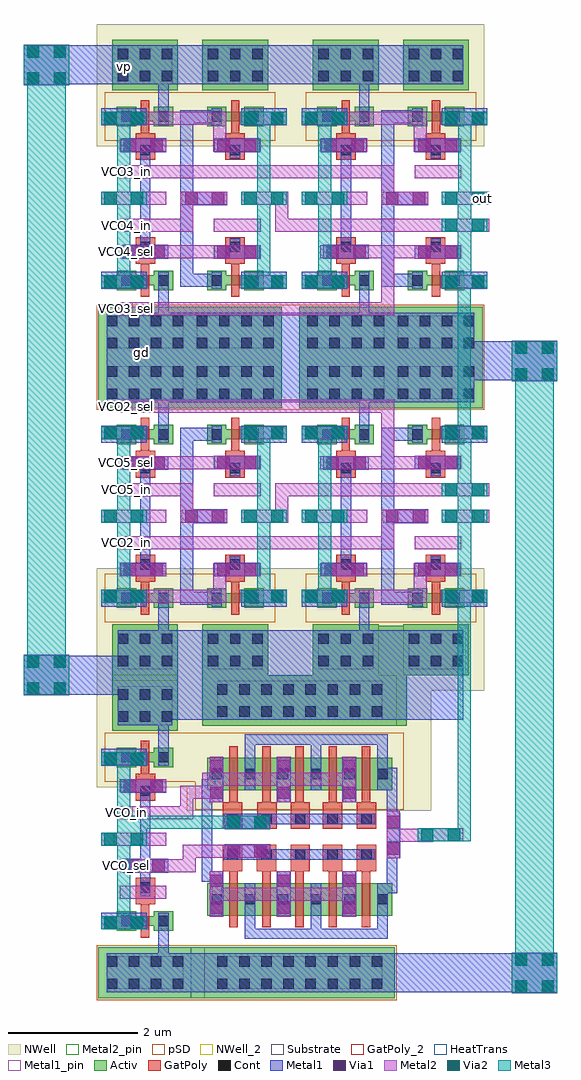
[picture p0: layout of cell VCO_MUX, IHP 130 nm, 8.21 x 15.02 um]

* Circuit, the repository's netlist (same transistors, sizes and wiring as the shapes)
** sch_path: /foss/designs/CHIP-PLL/schematics/divider/schematics/VCO_MUX.sch
.subckt VCO_MUX gd VP VCO_in VCO2_in VCO3_in VCO4_in VCO5_in VCO_sel VCO2_sel VCO3_sel VCO4_sel VCO5_sel out
*.PININFO gd:B VP:B VCO2_in:I VCO3_in:I VCO4_in:I VCO5_in:I out:O VCO_in:I VCO2_sel:I VCO3_sel:I VCO_sel:I VCO4_sel:I VCO5_sel:I
x2 VCO_sel net1 VP gd inverter_dek
x3 net2 VP gd VCO2_sel VCO2_in out passgate_scaled
x4 VCO2_sel net2 VP gd inverter_dek
x5 net3 VP gd VCO3_sel VCO3_in out passgate_scaled
x6 VCO3_sel net3 VP gd inverter_dek
x7 net4 VP gd VCO4_sel VCO4_in out passgate_scaled
x8 VCO4_sel net4 VP gd inverter_dek
x9 net5 VP gd VCO5_sel VCO5_in out passgate_scaled
x10 VCO5_sel net5 VP gd inverter_dek
x1 net1 VP gd VCO_sel VCO_in out vco_passgate_mux
.ends

* expanding   symbol:  inverter_dek.sym # of pins=4
** sym_path: /foss/designs/CHIP-PLL/schematics/divider/schematics/inverter_dek.sym
** sch_path: /foss/designs/CHIP-PLL/schematics/divider/schematics/inverter_dek.sch
.subckt inverter_dek IN OUT VP GND
*.PININFO IN:I VP:B OUT:O GND:B
MM1 OUT IN GND GND sg13_lv_nmos w=0.15u l=0.13u ng=1
MM2 OUT IN VP VP sg13_lv_pmos w=0.15u l=0.13u ng=1
.ends


* expanding   symbol:  passgate_scaled.sym # of pins=6
** sym_path: /foss/designs/CHIP-PLL/schematics/divider/schematics/passgate_scaled.sym
** sch_path: /foss/designs/CHIP-PLL/schematics/divider/schematics/passgate_scaled.sch
.subckt passgate_scaled en_ VP GND en IO OI
*.PININFO OI:B IO:B VP:B GND:B en_:I en:I
MM1 IO en OI GND sg13_lv_nmos w=0.15u l=0.13u ng=1
MM2 IO en_ OI VP sg13_lv_pmos w=0.15u l=0.13u ng=1
.ends


* expanding   symbol:  vco_passgate_mux.sym # of pins=6
** sym_path: /foss/designs/CHIP-PLL/schematics/divider/schematics/vco_passgate_mux.sym
** sch_path: /foss/designs/CHIP-PLL/schematics/divider/schematics/vco_passgate_mux.sch
.subckt vco_passgate_mux en_ VP GND en IO OI
*.PININFO OI:B IO:B VP:B GND:B en_:I en:I
MM1 IO en OI GND sg13_lv_nmos w=2.5u l=0.13u ng=1
MM2 IO en_ OI VP sg13_lv_pmos w=2.5u l=0.13u ng=1
.ends

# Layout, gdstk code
from math import pi, radians
import gdstk
lib = gdstk.Library(unit=1e-6, precision=1e-09)
def R(c, l, rs):  # rectangles x0, y0, x1, y1
    for r in rs: c.add(gdstk.rectangle(r[:2], r[2:], *l))
def A(c, l, x, y, w, h, nx, ny, dx, dy):  # array of equal rectangles
    R(c, l, [(x+i*dx, y+j*dy, x+i*dx+w, y+j*dy+h) for i in range(nx) for j in range(ny)])
Activ = (1, 0)
GatPoly = (5, 0)
GatPoly_2 = (5, 2)
Cont = (6, 0)
Metal1 = (8, 0)
Metal1_pin = (8, 2)
Metal2 = (10, 0)
Metal2_pin = (10, 2)
pSD = (14, 0)
Via1 = (19, 0)
Via2 = (29, 0)
Metal3 = (30, 0)
NWell = (31, 0)
NWell_2 = (31, 2)
Substrate = (40, 0)
HeatTrans = (51, 0)

via = lib.new_cell('Via')
R(via, Metal1, [(-0.35,-0.105,0.35,0.105)])
R(via, Metal2, [(-0.35,-0.1,0.35,0.1)])
R(via, Via1, [(-0.3,-0.095,-0.11,0.095), (0.11,-0.095,0.3,0.095)])

via_5 = lib.new_cell('Via$5')
R(via_5, Metal2, [(-0.35,-0.1,0.35,0.1)])
R(via_5, Via2, [(-0.3,-0.095,-0.11,0.095), (0.11,-0.095,0.3,0.095)])
R(via_5, Metal3, [(-0.35,-0.1,0.35,0.1)])

ntap1_1 = lib.new_cell('ntap1$1')
R(ntap1_1, Activ, [(0,0,1.01,0.78)])
A(ntap1_1, Cont, 0.085, 0.14, 0.16, 0.16, 3, 2, 0.34, 0.34)
R(ntap1_1, Metal1, [(0.085,0.09,0.925,0.69)])
R(ntap1_1, Metal1_pin, [(0.085,0.09,0.925,0.69), (0.085,0.14,0.925,0.64)])
R(ntap1_1, NWell, [(-0.24,-0.24,1.25,1.02), (0,0,1.01,0.78)])
R(ntap1_1, NWell_2, [(0,0,1.01,0.78)])
ntap1_1.add(gdstk.Label('well', (0.505,0.01), layer=63, texttype=0))
ntap1_1.add(gdstk.Label('well', (0.505,0.01), layer=31, texttype=0))

ptap1_1 = lib.new_cell('ptap1$1')
R(ptap1_1, Activ, [(0,0,1.43,0.78)])
A(ptap1_1, Cont, 0.125, 0.14, 0.16, 0.16, 4, 2, 0.34, 0.34)
R(ptap1_1, Metal1, [(0.125,0.09,1.305,0.69), (0.125,0.14,1.305,0.64)])
R(ptap1_1, Metal1_pin, [(0.125,0.14,1.305,0.64)])
R(ptap1_1, pSD, [(-0.03,-0.03,1.46,0.81)])
R(ptap1_1, Substrate, [(0,0,1.43,0.78)])
ptap1_1.add(gdstk.Label('sub!', (0.715,0.01), layer=63, texttype=0))
ptap1_1.add(gdstk.Label('sub!', (0.715,0.01), layer=40, texttype=0))

via_10 = lib.new_cell('Via$10')
R(via_10, Metal1, [(-0.35,-0.105,0.35,0.105)])
R(via_10, Metal2, [(-0.35,-0.1,0.35,0.1)])
R(via_10, Via1, [(-0.3,-0.095,-0.11,0.095), (0.11,-0.095,0.3,0.095)])

nmos_1 = lib.new_cell('nmos$1')
R(nmos_1, Activ, [(0,0,0.3,0.3), (0.57,0,0.87,0.3), (0,0.075,0.87,0.225)])
R(nmos_1, GatPoly, [(0.37,-0.105,0.5,0.405)])
R(nmos_1, GatPoly_2, [(0.37,-0.105,0.5,0.405)])
R(nmos_1, Cont, [(0.07,0.07,0.23,0.23), (0.64,0.07,0.8,0.23)])
R(nmos_1, Metal1, [(0.07,0.02,0.23,0.28), (0.64,0.02,0.8,0.28)])
R(nmos_1, Metal1_pin, [(0.07,0.02,0.23,0.28), (0.64,0.02,0.8,0.28)])
R(nmos_1, HeatTrans, [(0.37,-0.105,0.5,0.405)])
nmos_1.add(gdstk.Label('nmos', (0.435,0.15), layer=63, texttype=0))
nmos_1.add(gdstk.Label('nmos', (0.435,0.15), layer=51, texttype=0))

pmos_1 = lib.new_cell('pmos$1')
R(pmos_1, Activ, [(0,0,0.3,0.3), (0.57,0,0.87,0.3), (0,0.075,0.87,0.225)])
R(pmos_1, GatPoly, [(0.37,-0.105,0.5,0.405), (0.37,-0.105,0.5,0.405)])
R(pmos_1, Cont, [(0.07,0.07,0.23,0.23), (0.64,0.07,0.8,0.23)])
R(pmos_1, Metal1, [(0.07,0.02,0.23,0.28), (0.07,0.02,0.23,0.28), (0.64,0.02,0.8,0.28), (0.64,0.02,0.8,0.28)])
R(pmos_1, pSD, [(-0.18,-0.225,1.05,0.525)])
R(pmos_1, NWell, [(-0.31,-0.31,1.18,0.61)])
R(pmos_1, Substrate, [(0.57,0,0.87,0.3)])
R(pmos_1, HeatTrans, [(0.37,-0.105,0.5,0.405)])
pmos_1.add(gdstk.Label('pmos', (0.435,0.15), layer=63, texttype=0))
pmos_1.add(gdstk.Label('pmos', (0.435,0.15), layer=51, texttype=0))

via_12 = lib.new_cell('Via$12')
R(via_12, GatPoly, [(-0.15,-0.15,0.15,0.15)])
R(via_12, Cont, [(-0.08,-0.08,0.08,0.08)])
R(via_12, Metal1, [(-0.13,-0.08,0.13,0.08)])

passgate_scaled = lib.new_cell('passgate_scaled')
R(passgate_scaled, GatPoly, [(9.375,7.165,9.675,7.275), (9.375,9.065,9.675,9.175)])
R(passgate_scaled, Metal1, [(9.62,6.78,10.32,7.04), (9.62,9.3,10.32,9.56)])
R(passgate_scaled, Metal1_pin, [(9.16,6.015,9.36,6.215), (9.325,10.12,9.525,10.32)])
R(passgate_scaled, Metal2_pin, [(9.2,7.24,9.4,7.44), (8.71,8.07,8.91,8.27), (10.12,8.07,10.32,8.27), (9.2,8.89,9.4,9.09)])
passgate_scaled.add(gdstk.FlexPath([(9.105,9.43),(8.785,9.43),(8.785,6.91),(9.105,6.91)], 0.2, ends="flush", simple_path=True, layer=8, datatype=0))  # Metal1
passgate_scaled.add(gdstk.FlexPath([(9.045,6.91),(9.225,6.91)], 0.2, ends="flush", simple_path=True, layer=8, datatype=0))  # Metal1
passgate_scaled.add(gdstk.FlexPath([(8.995,9.43),(9.245,9.43)], 0.2, ends="flush", simple_path=True, layer=8, datatype=0))  # Metal1
passgate_scaled.add(gdstk.FlexPath([(10.32,8.17),(9.62,8.17)], 0.2, ends="flush", simple_path=True, layer=10, datatype=0))  # Metal2
passgate_scaled.add(gdstk.FlexPath([(9.765,9.405),(9.6,9.405)], 0.2, ends="flush", simple_path=True, layer=10, datatype=0))  # Metal2
passgate_scaled.add(gdstk.FlexPath([(9.765,6.885),(9.6,6.885)], 0.2, ends="flush", simple_path=True, layer=10, datatype=0))  # Metal2
passgate_scaled.add(gdstk.FlexPath([(9.41,8.17),(8.71,8.17)], 0.2, ends="flush", simple_path=True, layer=10, datatype=0))  # Metal2
passgate_scaled.add(gdstk.FlexPath([(9.35,7.345),(9.92,7.345)], 0.2, ends="flush", simple_path=True, layer=10, datatype=0))  # Metal2
passgate_scaled.add(gdstk.FlexPath([(10.22,8.17),(10.345,8.17)], 0.2, ends="flush", simple_path=True, layer=10, datatype=0))  # Metal2
passgate_scaled.add(gdstk.FlexPath([(8.81,8.17),(8.685,8.17)], 0.2, ends="flush", simple_path=True, layer=10, datatype=0))  # Metal2
passgate_scaled.add(gdstk.FlexPath([(9.2,7.34),(9.92,7.34)], 0.2, ends="flush", simple_path=True, layer=10, datatype=0))  # Metal2
passgate_scaled.add(gdstk.FlexPath([(9.2,8.99),(9.92,8.99)], 0.2, ends="flush", simple_path=True, layer=10, datatype=0))  # Metal2
passgate_scaled.add(gdstk.FlexPath([(9.2,8.58),(9.92,8.58)], 0.2, ends="flush", simple_path=True, layer=10, datatype=0))  # Metal2
passgate_scaled.add(gdstk.FlexPath([(9.2,7.76),(9.92,7.76)], 0.2, ends="flush", simple_path=True, layer=10, datatype=0))  # Metal2
passgate_scaled.add(gdstk.FlexPath([(9.97,6.885),(9.97,8.17)], 0.2, ends="flush", simple_path=True, layer=30, datatype=0))  # Metal3
passgate_scaled.add(gdstk.FlexPath([(9.97,9.405),(9.97,8.17)], 0.2, ends="flush", simple_path=True, layer=30, datatype=0))  # Metal3
passgate_scaled.add(gdstk.Reference(via_5, (9.97,6.885)))
passgate_scaled.add(gdstk.Reference(ntap1_1, (9.025,9.835)))
passgate_scaled.add(gdstk.Reference(ptap1_1, (8.815,5.725)))
passgate_scaled.add(gdstk.Reference(via_10, (9.97,6.885), rotation=pi))
passgate_scaled.add(gdstk.Reference(nmos_1, (9.095,6.76)))
passgate_scaled.add(gdstk.Reference(pmos_1, (9.095,9.28)))
passgate_scaled.add(gdstk.Reference(via_12, (9.525,8.915), rotation=pi/2))
passgate_scaled.add(gdstk.Reference(via_12, (9.525,7.425), rotation=3*pi/2))
passgate_scaled.add(gdstk.Reference(via_5, (9.97,9.405)))
passgate_scaled.add(gdstk.Reference(via_10, (9.555,8.99), rotation=pi))
passgate_scaled.add(gdstk.Reference(via_10, (9.97,9.405), rotation=pi))
passgate_scaled.add(gdstk.Reference(via_5, (9.97,8.17)))
passgate_scaled.add(gdstk.Reference(via_10, (9.555,7.345)))
passgate_scaled.add(gdstk.Reference(via_10, (9.06,8.17)))
passgate_scaled.add(gdstk.Label('OI', (10.22,8.17), layer=10, texttype=25))
passgate_scaled.add(gdstk.Label('IO', (8.81,8.17), layer=10, texttype=25))
passgate_scaled.add(gdstk.Label('en_', (9.3,8.99), layer=10, texttype=25))
passgate_scaled.add(gdstk.Label('en', (9.3,7.34), layer=10, texttype=25))
passgate_scaled.add(gdstk.Label('VP', (9.295,10.22), layer=8, texttype=25))
passgate_scaled.add(gdstk.Label('GND', (9.26,6.115), layer=8, texttype=25))

via_4_1 = lib.new_cell('Via$4$1')
R(via_4_1, Metal2, [(-0.1,-0.35,0.1,0.35)])
R(via_4_1, Via2, [(-0.095,-0.3,0.095,-0.11), (-0.095,0.11,0.095,0.3)])
R(via_4_1, Metal3, [(-0.1,-0.35,0.1,0.35)])

ntap1_3 = lib.new_cell('ntap1$3')
R(ntap1_3, Activ, [(0,0,1.01,0.78)])
A(ntap1_3, Cont, 0.085, 0.14, 0.16, 0.16, 3, 2, 0.34, 0.34)
R(ntap1_3, Metal1, [(0.085,0.09,0.925,0.69)])
R(ntap1_3, Metal1_pin, [(0.085,0.09,0.925,0.69), (0.085,0.14,0.925,0.64)])
R(ntap1_3, NWell, [(-0.24,-0.24,1.25,1.02), (0,0,1.01,0.78)])
R(ntap1_3, NWell_2, [(0,0,1.01,0.78)])
ntap1_3.add(gdstk.Label('well', (0.505,0.01), layer=63, texttype=0))
ntap1_3.add(gdstk.Label('well', (0.505,0.01), layer=31, texttype=0))

ptap1_3 = lib.new_cell('ptap1$3')
R(ptap1_3, Activ, [(0,0,1.43,0.78)])
A(ptap1_3, Cont, 0.125, 0.14, 0.16, 0.16, 4, 2, 0.34, 0.34)
R(ptap1_3, Metal1, [(0.125,0.09,1.305,0.69), (0.125,0.14,1.305,0.64)])
R(ptap1_3, Metal1_pin, [(0.125,0.14,1.305,0.64)])
R(ptap1_3, pSD, [(-0.03,-0.03,1.46,0.81)])
R(ptap1_3, Substrate, [(0,0,1.43,0.78)])
ptap1_3.add(gdstk.Label('sub!', (0.715,0.01), layer=63, texttype=0))
ptap1_3.add(gdstk.Label('sub!', (0.715,0.01), layer=40, texttype=0))

via_2_1 = lib.new_cell('Via$2$1')
R(via_2_1, Metal1, [(-0.105,-0.35,0.105,0.35)])
R(via_2_1, Metal2, [(-0.1,-0.35,0.1,0.35)])
R(via_2_1, Via1, [(-0.095,-0.3,0.095,-0.11), (-0.095,0.11,0.095,0.3)])

nmos_3 = lib.new_cell('nmos$3')
R(nmos_3, Activ, [(0,0,0.3,0.3), (0.57,0,0.87,0.3), (0,0.075,0.87,0.225)])
R(nmos_3, GatPoly, [(0.37,-0.105,0.5,0.405)])
R(nmos_3, GatPoly_2, [(0.37,-0.105,0.5,0.405)])
R(nmos_3, Cont, [(0.07,0.07,0.23,0.23), (0.64,0.07,0.8,0.23)])
R(nmos_3, Metal1, [(0.07,0.02,0.23,0.28), (0.64,0.02,0.8,0.28)])
R(nmos_3, Metal1_pin, [(0.07,0.02,0.23,0.28), (0.64,0.02,0.8,0.28)])
R(nmos_3, HeatTrans, [(0.37,-0.105,0.5,0.405)])
nmos_3.add(gdstk.Label('nmos', (0.435,0.15), layer=63, texttype=0))
nmos_3.add(gdstk.Label('nmos', (0.435,0.15), layer=51, texttype=0))

pmos_3 = lib.new_cell('pmos$3')
R(pmos_3, Activ, [(0,0,0.3,0.3), (0.57,0,0.87,0.3), (0,0.075,0.87,0.225)])
R(pmos_3, GatPoly, [(0.37,-0.105,0.5,0.405), (0.37,-0.105,0.5,0.405)])
R(pmos_3, Cont, [(0.07,0.07,0.23,0.23), (0.64,0.07,0.8,0.23)])
R(pmos_3, Metal1, [(0.07,0.02,0.23,0.28), (0.07,0.02,0.23,0.28), (0.64,0.02,0.8,0.28), (0.64,0.02,0.8,0.28)])
R(pmos_3, pSD, [(-0.18,-0.225,1.05,0.525)])
R(pmos_3, NWell, [(-0.31,-0.31,1.18,0.61)])
R(pmos_3, HeatTrans, [(0.37,-0.105,0.5,0.405)])
pmos_3.add(gdstk.Label('pmos', (0.435,0.15), layer=63, texttype=0))
pmos_3.add(gdstk.Label('pmos', (0.435,0.15), layer=51, texttype=0))

via_20 = lib.new_cell('Via$20')
R(via_20, GatPoly, [(-0.15,-0.15,0.15,0.15)])
R(via_20, Cont, [(-0.08,-0.08,0.08,0.08)])
R(via_20, Metal1, [(-0.13,-0.08,0.13,0.08)])

via_7_1 = lib.new_cell('Via$7$1')
R(via_7_1, Metal2, [(-0.35,-0.1,0.35,0.1)])
R(via_7_1, Via2, [(-0.3,-0.095,-0.11,0.095), (0.11,-0.095,0.3,0.095)])
R(via_7_1, Metal3, [(-0.35,-0.1,0.35,0.1)])

inverter_dek = lib.new_cell('inverter_dek')
R(inverter_dek, GatPoly, [(9.375,7.165,9.675,7.275), (9.375,9.065,9.675,9.175)])
R(inverter_dek, Metal1, [(9.505,6.78,10.205,7.04), (9.505,9.3,10.205,9.56)])
R(inverter_dek, Metal1_pin, [(9.16,6.015,9.36,6.215), (9.325,10.12,9.525,10.32)])
R(inverter_dek, Metal2_pin, [(10.005,8.07,10.205,8.27), (9.2,8.89,9.4,9.09)])
inverter_dek.add(gdstk.FlexPath([(9.245,9.56),(9.245,10.525)], 0.16, ends="flush", simple_path=True, layer=8, datatype=0))  # Metal1
inverter_dek.add(gdstk.FlexPath([(9.245,6.78),(9.245,6.415)], 0.16, ends="flush", simple_path=True, layer=8, datatype=0))  # Metal1
inverter_dek.add(gdstk.FlexPath([(9.525,7.555),(9.525,8.785)], 0.16, ends="flush", simple_path=True, layer=8, datatype=0))  # Metal1
inverter_dek.add(gdstk.FlexPath([(9.65,9.405),(9.485,9.405)], 0.2, ends="flush", simple_path=True, layer=10, datatype=0))  # Metal2
inverter_dek.add(gdstk.FlexPath([(9.65,6.885),(9.485,6.885)], 0.2, ends="flush", simple_path=True, layer=10, datatype=0))  # Metal2
inverter_dek.add(gdstk.FlexPath([(9.2,8.99),(9.92,8.99)], 0.2, ends="flush", simple_path=True, layer=10, datatype=0))  # Metal2
inverter_dek.add(gdstk.FlexPath([(9.2,8.58),(9.92,8.58)], 0.2, ends="flush", simple_path=True, layer=10, datatype=0))  # Metal2
inverter_dek.add(gdstk.FlexPath([(9.2,7.76),(9.92,7.76)], 0.2, ends="flush", simple_path=True, layer=10, datatype=0))  # Metal2
inverter_dek.add(gdstk.FlexPath([(9.2,7.35),(9.92,7.35)], 0.2, ends="flush", simple_path=True, layer=10, datatype=0))  # Metal2
inverter_dek.add(gdstk.FlexPath([(9.2,8.17),(10.205,8.17)], 0.2, ends="flush", simple_path=True, layer=10, datatype=0))  # Metal2
inverter_dek.add(gdstk.FlexPath([(9.855,6.885),(9.855,8.17)], 0.2, ends="flush", simple_path=True, layer=30, datatype=0))  # Metal3
inverter_dek.add(gdstk.FlexPath([(9.855,9.405),(9.855,8.17)], 0.2, ends="flush", simple_path=True, layer=30, datatype=0))  # Metal3
inverter_dek.add(gdstk.Reference(via_4_1, (9.855,6.885), rotation=3*pi/2))
inverter_dek.add(gdstk.Reference(ntap1_3, (9.025,9.835)))
inverter_dek.add(gdstk.Reference(ptap1_3, (8.815,5.725)))
inverter_dek.add(gdstk.Reference(via_2_1, (9.855,6.885), rotation=3*pi/2))
inverter_dek.add(gdstk.Reference(nmos_3, (9.095,6.76)))
inverter_dek.add(gdstk.Reference(pmos_3, (9.095,9.28)))
inverter_dek.add(gdstk.Reference(via_20, (9.525,8.915), rotation=pi/2))
inverter_dek.add(gdstk.Reference(via_20, (9.525,7.425), rotation=3*pi/2))
inverter_dek.add(gdstk.Reference(via_4_1, (9.855,9.405), rotation=3*pi/2))
inverter_dek.add(gdstk.Reference(via_2_1, (9.555,8.99), rotation=3*pi/2))
inverter_dek.add(gdstk.Reference(via_2_1, (9.855,9.405), rotation=3*pi/2))
inverter_dek.add(gdstk.Reference(via_7_1, (9.855,8.17)))
inverter_dek.add(gdstk.Label('out', (10.105,8.17), layer=10, texttype=25))
inverter_dek.add(gdstk.Label('in', (9.3,8.99), layer=10, texttype=25))
inverter_dek.add(gdstk.Label('VP', (9.295,10.22), layer=8, texttype=25))
inverter_dek.add(gdstk.Label('GND', (9.26,6.115), layer=8, texttype=25))

via_14 = lib.new_cell('Via$14')
R(via_14, Metal2, [(-0.35,-0.1,0.35,0.1)])
R(via_14, Via2, [(-0.3,-0.095,-0.11,0.095), (0.11,-0.095,0.3,0.095)])
R(via_14, Metal3, [(-0.35,-0.1,0.35,0.1)])

via_16 = lib.new_cell('Via$16')
R(via_16, Metal2, [(-0.35,-0.1,0.35,0.1)])
R(via_16, Via2, [(-0.3,-0.095,-0.11,0.095), (0.11,-0.095,0.3,0.095)])
R(via_16, Metal3, [(-0.35,-0.1,0.35,0.1)])

via_18 = lib.new_cell('Via$18')
R(via_18, Metal1, [(-0.35,-0.31,0.35,0.31)])
R(via_18, Metal2, [(-0.35,-0.305,0.35,0.305)])
R(via_18, Via1, [(-0.3,-0.3,-0.11,-0.11), (0.11,-0.3,0.3,-0.11), (-0.3,0.11,-0.11,0.3), (0.11,0.11,0.3,0.3)])

via_17 = lib.new_cell('Via$17')
R(via_17, Metal2, [(-0.35,-0.305,0.35,0.305)])
R(via_17, Via2, [(-0.3,-0.3,-0.11,-0.11), (0.11,-0.3,0.3,-0.11), (-0.3,0.11,-0.11,0.3), (0.11,0.11,0.3,0.3)])
R(via_17, Metal3, [(-0.35,-0.305,0.35,0.305)])

ntap1_2 = lib.new_cell('ntap1$2')
R(ntap1_2, Activ, [(0,0,2.99,0.78)])
A(ntap1_2, Cont, 0.225, 0.14, 0.16, 0.16, 8, 2, 0.34, 0.34)
R(ntap1_2, Metal1, [(0.225,0.09,2.765,0.69)])
R(ntap1_2, Metal1_pin, [(0.225,0.09,2.765,0.69), (0.225,0.14,2.765,0.64)])
R(ntap1_2, NWell, [(-0.24,-0.24,3.23,1.02), (0,0,2.99,0.78)])
R(ntap1_2, NWell_2, [(0,0,2.99,0.78)])
ntap1_2.add(gdstk.Label('well', (1.495,0.01), layer=63, texttype=0))
ntap1_2.add(gdstk.Label('well', (1.495,0.01), layer=31, texttype=0))

pmos_2 = lib.new_cell('pmos$2')
A(pmos_2, Activ, 0, 0, 0.3, 0.3, 6, 1, 0.51, 0)
R(pmos_2, Activ, [(0,0,2.85,0.5)])
A(pmos_2, GatPoly, 0.34, -0.18, 0.13, 0.86, 5, 1, 0.51, 0)
R(pmos_2, GatPoly, [(0.34,-0.18,0.47,0.68)])
A(pmos_2, Cont, 0.07, 0.17, 0.16, 0.16, 6, 1, 0.51, 0)
A(pmos_2, Metal1, 0.58, 0, 0.16, 0.5, 5, 1, 0.51, 0)
R(pmos_2, Metal1, [(0.07,0,0.23,0.5), (0.07,0,0.23,0.5), (0.58,0,0.74,0.5)])
R(pmos_2, pSD, [(-0.18,-0.3,3.03,0.8)])
R(pmos_2, NWell, [(-0.31,-0.31,3.16,0.81)])
A(pmos_2, HeatTrans, 0.34, -0.18, 0.13, 0.86, 5, 1, 0.51, 0)
pmos_2.add(gdstk.Label('pmos', (0.405,0.25), layer=63, texttype=0))
pmos_2.add(gdstk.Label('pmos', (0.405,0.25), layer=51, texttype=0))
pmos_2.add(gdstk.Label('pmos', (0.915,0.25), layer=51, texttype=0))
pmos_2.add(gdstk.Label('pmos', (1.425,0.25), layer=51, texttype=0))
pmos_2.add(gdstk.Label('pmos', (1.935,0.25), layer=51, texttype=0))
pmos_2.add(gdstk.Label('pmos', (2.445,0.25), layer=51, texttype=0))

ptap1_2 = lib.new_cell('ptap1$2')
R(ptap1_2, Activ, [(0,0,2.93,0.78)])
A(ptap1_2, Cont, 0.195, 0.14, 0.16, 0.16, 8, 2, 0.34, 0.34)
R(ptap1_2, Metal1, [(0.195,0.09,2.735,0.69), (0.195,0.14,2.735,0.64)])
R(ptap1_2, Metal1_pin, [(0.195,0.14,2.735,0.64)])
R(ptap1_2, pSD, [(-0.03,-0.03,2.96,0.81)])
R(ptap1_2, Substrate, [(0,0,2.93,0.78)])
ptap1_2.add(gdstk.Label('sub!', (1.465,0.01), layer=63, texttype=0))
ptap1_2.add(gdstk.Label('sub!', (1.465,0.01), layer=40, texttype=0))

nmos_2 = lib.new_cell('nmos$2')
A(nmos_2, Activ, 0, 0, 0.3, 0.3, 6, 1, 0.51, 0)
R(nmos_2, Activ, [(0,0,2.85,0.5)])
A(nmos_2, GatPoly, 0.34, -0.18, 0.13, 0.86, 5, 1, 0.51, 0)
R(nmos_2, GatPoly_2, [(0.34,-0.18,0.47,0.68)])
A(nmos_2, Cont, 0.07, 0.17, 0.16, 0.16, 6, 1, 0.51, 0)
A(nmos_2, Metal1, 0.07, 0, 0.16, 0.5, 6, 1, 0.51, 0)
R(nmos_2, Metal1_pin, [(0.07,0,0.23,0.5), (0.58,0,0.74,0.5)])
A(nmos_2, HeatTrans, 0.34, -0.18, 0.13, 0.86, 5, 1, 0.51, 0)
nmos_2.add(gdstk.Label('nmos', (0.405,0.25), layer=63, texttype=0))
nmos_2.add(gdstk.Label('nmos', (0.405,0.25), layer=51, texttype=0))
nmos_2.add(gdstk.Label('nmos', (0.915,0.25), layer=51, texttype=0))
nmos_2.add(gdstk.Label('nmos', (1.425,0.25), layer=51, texttype=0))
nmos_2.add(gdstk.Label('nmos', (1.935,0.25), layer=51, texttype=0))
nmos_2.add(gdstk.Label('nmos', (2.445,0.25), layer=51, texttype=0))

via_19 = lib.new_cell('Via$19')
R(via_19, Metal1, [(-0.35,-0.105,0.35,0.105)])
R(via_19, Metal2, [(-0.35,-0.1,0.35,0.1)])
R(via_19, Via1, [(-0.3,-0.095,-0.11,0.095), (0.11,-0.095,0.3,0.095)])

via_6 = lib.new_cell('Via$6')
R(via_6, GatPoly, [(-0.15,-0.15,0.15,0.15)])
R(via_6, Cont, [(-0.08,-0.08,0.08,0.08)])
R(via_6, Metal1, [(-0.13,-0.08,0.13,0.08)])

vco_passgate_mux = lib.new_cell('vco_passgate_mux')
R(vco_passgate_mux, GatPoly, [(9.08,7.845,9.38,7.955), (9.605,7.845,9.905,7.955), (10.125,7.845,10.425,7.955), (10.62,7.845,10.92,7.955), (11.145,7.845,11.445,7.955), (9.08,8.8,9.38,8.91), (9.61,8.8,9.91,8.91), (10.125,8.8,10.425,8.91), (10.62,8.8,10.92,8.91), (11.145,8.8,11.445,8.91)])
R(vco_passgate_mux, Metal1_pin, [(9.085,6.22,9.285,6.42), (9.075,10.36,9.275,10.56)])
R(vco_passgate_mux, Metal2_pin, [(9.085,8.055,9.285,8.255), (9.61,8.055,9.81,8.255), (11.61,8.3,11.81,8.5), (9.085,8.5,9.285,8.7), (9.61,8.5,9.81,8.7), (8.77,9.16,8.97,9.36)])
vco_passgate_mux.add(gdstk.FlexPath([(8.84,8.135),(8.84,9.18),(9.08,9.18)], 0.16, ends="flush", simple_path=True, layer=8, datatype=0))  # Metal1
vco_passgate_mux.add(gdstk.FlexPath([(11.685,8.21),(11.685,9.36),(11.46,9.36)], 0.16, ends="flush", simple_path=True, layer=8, datatype=0))  # Metal1
vco_passgate_mux.add(gdstk.FlexPath([(11.03,7.495),(11.03,7.495)], 0.16, ends="flush", simple_path=True, layer=8, datatype=0))  # Metal1
vco_passgate_mux.add(gdstk.FlexPath([(8.985,7.495),(8.985,7.495)], 0.16, ends="flush", simple_path=True, layer=8, datatype=0))  # Metal1
vco_passgate_mux.add(gdstk.FlexPath([(10.52,7.415),(10.52,6.885)], 0.16, ends="flush", simple_path=True, layer=8, datatype=0))  # Metal1
vco_passgate_mux.add(gdstk.FlexPath([(10.08,6.885),(11.54,6.885),(11.54,7.165)], 0.16, ends="flush", simple_path=True, layer=8, datatype=0))  # Metal1
vco_passgate_mux.add(gdstk.FlexPath([(9.5,7.415),(9.5,6.885),(10.13,6.885)], 0.16, ends="flush", simple_path=True, layer=8, datatype=0))  # Metal1
vco_passgate_mux.add(gdstk.FlexPath([(11.685,8.36),(11.685,7.585),(11.46,7.585)], 0.16, ends="flush", simple_path=True, layer=8, datatype=0))  # Metal1
vco_passgate_mux.add(gdstk.FlexPath([(8.84,8.31),(8.84,7.765),(9.08,7.765)], 0.16, ends="flush", simple_path=True, layer=8, datatype=0))  # Metal1
vco_passgate_mux.add(gdstk.FlexPath([(11.425,8.105),(9.1,8.105)], 0.16, ends="flush", simple_path=True, layer=8, datatype=0))  # Metal1
vco_passgate_mux.add(gdstk.FlexPath([(10.02,7.495),(10.02,7.495)], 0.16, ends="flush", simple_path=True, layer=8, datatype=0))  # Metal1
vco_passgate_mux.add(gdstk.FlexPath([(9.5,9.34),(9.5,9.875),(10.44,9.875)], 0.16, ends="flush", simple_path=True, layer=8, datatype=0))  # Metal1
vco_passgate_mux.add(gdstk.FlexPath([(10.41,9.875),(11.54,9.875),(11.54,9.42)], 0.16, ends="flush", simple_path=True, layer=8, datatype=0))  # Metal1
vco_passgate_mux.add(gdstk.FlexPath([(10.52,9.34),(10.52,9.855)], 0.16, ends="flush", simple_path=True, layer=8, datatype=0))  # Metal1
vco_passgate_mux.add(gdstk.FlexPath([(8.985,9.26),(8.985,9.26)], 0.16, ends="flush", simple_path=True, layer=8, datatype=0))  # Metal1
vco_passgate_mux.add(gdstk.FlexPath([(10.02,9.26),(10.02,9.26)], 0.16, ends="flush", simple_path=True, layer=8, datatype=0))  # Metal1
vco_passgate_mux.add(gdstk.FlexPath([(11.03,9.26),(11.03,9.26)], 0.16, ends="flush", simple_path=True, layer=8, datatype=0))  # Metal1
vco_passgate_mux.add(gdstk.FlexPath([(11.425,8.65),(9.1,8.65)], 0.16, ends="flush", simple_path=True, layer=8, datatype=0))  # Metal1
vco_passgate_mux.add(gdstk.FlexPath([(11.03,7.495),(11.03,7.495)], 0.3, ends="flush", simple_path=True, layer=10, datatype=0))  # Metal2
vco_passgate_mux.add(gdstk.FlexPath([(8.985,7.495),(8.985,7.495)], 0.3, ends="flush", simple_path=True, layer=10, datatype=0))  # Metal2
vco_passgate_mux.add(gdstk.FlexPath([(11.03,7.495),(8.985,7.495)], 0.2, ends="flush", simple_path=True, layer=10, datatype=0))  # Metal2
vco_passgate_mux.add(gdstk.FlexPath([(9.81,8.155),(9.11,8.155)], 0.2, ends="flush", simple_path=True, layer=10, datatype=0))  # Metal2
vco_passgate_mux.add(gdstk.FlexPath([(9.21,8.155),(9.085,8.155)], 0.2, ends="flush", simple_path=True, layer=10, datatype=0))  # Metal2
vco_passgate_mux.add(gdstk.FlexPath([(10.02,7.495),(10.02,7.495)], 0.3, ends="flush", simple_path=True, layer=10, datatype=0))  # Metal2
vco_passgate_mux.add(gdstk.FlexPath([(9.81,8.6),(9.11,8.6)], 0.2, ends="flush", simple_path=True, layer=10, datatype=0))  # Metal2
vco_passgate_mux.add(gdstk.FlexPath([(9.21,8.6),(9.085,8.6)], 0.2, ends="flush", simple_path=True, layer=10, datatype=0))  # Metal2
vco_passgate_mux.add(gdstk.FlexPath([(8.985,9.26),(8.77,9.26)], 0.2, ends="flush", simple_path=True, layer=10, datatype=0))  # Metal2
vco_passgate_mux.add(gdstk.FlexPath([(11.03,9.26),(8.985,9.26)], 0.2, ends="flush", simple_path=True, layer=10, datatype=0))  # Metal2
vco_passgate_mux.add(gdstk.FlexPath([(8.985,9.26),(8.985,9.26)], 0.3, ends="flush", simple_path=True, layer=10, datatype=0))  # Metal2
vco_passgate_mux.add(gdstk.FlexPath([(10.02,9.26),(10.02,9.26)], 0.3, ends="flush", simple_path=True, layer=10, datatype=0))  # Metal2
vco_passgate_mux.add(gdstk.FlexPath([(11.03,9.26),(11.03,9.26)], 0.3, ends="flush", simple_path=True, layer=10, datatype=0))  # Metal2
vco_passgate_mux.add(gdstk.FlexPath([(11.71,8.05),(11.71,8.75)], 0.2, ends="flush", simple_path=True, layer=10, datatype=0))  # Metal2
vco_passgate_mux.add(gdstk.FlexPath([(11.71,8.65),(11.71,8.775)], 0.2, ends="flush", simple_path=True, layer=10, datatype=0))  # Metal2
vco_passgate_mux.add(gdstk.Reference(ntap1_2, (8.77,10.085)))
vco_passgate_mux.add(gdstk.Reference(pmos_2, (8.84,9.09)))
vco_passgate_mux.add(gdstk.Reference(ptap1_2, (8.8,5.895)))
vco_passgate_mux.add(gdstk.Reference(nmos_2, (8.84,7.165)))
vco_passgate_mux.add(gdstk.Reference(via_19, (11.03,7.495), rotation=3*pi/2))
vco_passgate_mux.add(gdstk.Reference(via_19, (8.985,7.495), rotation=3*pi/2))
vco_passgate_mux.add(gdstk.Reference(via_6, (11.295,8.105)))
vco_passgate_mux.add(gdstk.Reference(via_19, (9.46,8.155)))
vco_passgate_mux.add(gdstk.Reference(via_6, (10.77,8.105)))
vco_passgate_mux.add(gdstk.Reference(via_6, (9.23,8.105)))
vco_passgate_mux.add(gdstk.Reference(via_6, (10.275,8.105)))
vco_passgate_mux.add(gdstk.Reference(via_6, (9.755,8.105)))
vco_passgate_mux.add(gdstk.Reference(via_19, (10.02,7.495), rotation=3*pi/2))
vco_passgate_mux.add(gdstk.Reference(via_19, (9.46,8.6)))
vco_passgate_mux.add(gdstk.Reference(via_19, (8.985,9.26), rotation=3*pi/2))
vco_passgate_mux.add(gdstk.Reference(via_19, (11.03,9.26), rotation=3*pi/2))
vco_passgate_mux.add(gdstk.Reference(via_19, (10.02,9.26), rotation=3*pi/2))
vco_passgate_mux.add(gdstk.Reference(via_6, (11.295,8.65), rotation=pi))
vco_passgate_mux.add(gdstk.Reference(via_6, (10.77,8.65), rotation=pi))
vco_passgate_mux.add(gdstk.Reference(via_6, (10.275,8.65), rotation=pi))
vco_passgate_mux.add(gdstk.Reference(via_6, (9.23,8.65), rotation=pi))
vco_passgate_mux.add(gdstk.Reference(via_6, (9.76,8.65), rotation=pi))
vco_passgate_mux.add(gdstk.Reference(via_19, (11.71,8.4), rotation=3*pi/2))
vco_passgate_mux.add(gdstk.Label('en', (9.185,8.155), layer=10, texttype=25))
vco_passgate_mux.add(gdstk.Label('en_', (9.185,8.6), layer=10, texttype=25))
vco_passgate_mux.add(gdstk.Label('IO', (8.78,9.26), layer=10, texttype=25))
vco_passgate_mux.add(gdstk.Label('OI', (11.71,8.415), layer=10, texttype=25))
vco_passgate_mux.add(gdstk.Label('vp', (9.175,10.46), layer=8, texttype=25))
vco_passgate_mux.add(gdstk.Label('gnd', (9.185,6.32), layer=8, texttype=25))

vco_mux = lib.new_cell('VCO_MUX')
R(vco_mux, Activ, [(8.74,-4.135,9.17,-3.355), (12.015,0.055,12.17,0.835), (7.635,0.755,8.645,0.835), (11.665,0.835,12.18,1.595)])
R(vco_mux, Metal1, [(7.72,0.145,13.04,1.525), (7.55,5.035,13.21,6.415), (7.72,9.925,13.04,10.525)])
R(vco_mux, Metal1_pin, [(7.99,5.7,8.19,5.9), (7.72,10.105,7.92,10.305)])
R(vco_mux, Metal2_pin, [(7.75,-2.2,7.95,-2), (7.75,-1.38,7.95,-1.18), (7.75,2.77,7.95,2.97), (7.75,3.59,7.95,3.79), (7.75,4,7.95,4.2), (7.75,4.875,7.95,5.075), (7.75,6.375,7.95,6.575), (7.75,7.25,7.95,7.45), (7.75,7.66,7.95,7.86), (13.235,8.07,13.435,8.27), (7.75,8.48,7.95,8.68)])
R(vco_mux, pSD, [(8.645,-4.165,9.28,-3.325), (8.595,-0.805,12.125,-0.055), (7.525,1.645,10.145,2.395), (10.615,1.645,13.235,2.395), (10.08,4.915,10.565,5.755), (10.08,5.695,10.565,6.535), (7.525,9.055,10.145,9.805), (10.615,9.055,13.235,9.805)])
R(vco_mux, Metal3, [(7.905,-1.59,8.165,-1.51)])
R(vco_mux, NWell, [(12.155,-1.25,12.32,0.835), (12.238,-1.25,12.545,0.595), (9.885,0.595,10.725,2.48), (9.885,8.97,10.725,10.855)])
vco_mux.add(gdstk.FlexPath([(7.55,-3.745),(14.485,-3.745)], 0.6, ends="flush", simple_path=True, layer=8, datatype=0))  # Metal1
vco_mux.add(gdstk.FlexPath([(8.14,0.835),(6.76,0.835)], 0.6, ends="flush", simple_path=True, layer=8, datatype=0))  # Metal1
vco_mux.add(gdstk.FlexPath([(7.72,10.225),(6.625,10.225)], 0.6, ends="flush", simple_path=True, layer=8, datatype=0))  # Metal1
vco_mux.add(gdstk.FlexPath([(14.135,5.67),(12.795,5.67)], 0.6, ends="flush", simple_path=True, layer=8, datatype=0))  # Metal1
vco_mux.add(gdstk.FlexPath([(8.315,-1.28),(8.785,-1.28),(8.785,-0.965),(9.27,-0.965)], 0.2, ends="flush", simple_path=True, layer=10, datatype=0))  # Metal2
vco_mux.add(gdstk.FlexPath([(8.145,-2.1),(8.145,-2.1)], 0.2, ends="flush", simple_path=True, layer=10, datatype=0))  # Metal2
vco_mux.add(gdstk.FlexPath([(9.715,-1.875),(8.82,-1.875),(8.82,-2.1),(8.235,-2.1)], 0.2, ends="flush", simple_path=True, layer=10, datatype=0))  # Metal2
vco_mux.add(gdstk.FlexPath([(11.965,-1.63),(12.58,-1.63)], 0.2, ends="flush", simple_path=True, layer=10, datatype=0))  # Metal2
vco_mux.add(gdstk.FlexPath([(14.135,-3.75),(14.135,-3.75)], 0.6, ends="flush", simple_path=True, layer=10, datatype=0))  # Metal2
vco_mux.add(gdstk.FlexPath([(8.37,7.35),(9.92,7.35)], 0.2, ends="flush", simple_path=True, layer=10, datatype=0))  # Metal2
vco_mux.add(gdstk.FlexPath([(8.145,7.35),(8.145,7.35)], 0.2, ends="flush", simple_path=True, layer=10, datatype=0))  # Metal2
vco_mux.add(gdstk.FlexPath([(8.105,9.405),(9.29,9.405),(9.29,8.89)], 0.2, ends="flush", simple_path=True, layer=10, datatype=0))  # Metal2
vco_mux.add(gdstk.FlexPath([(8.39,7.76),(8.785,7.76),(8.785,8.27)], 0.2, ends="flush", simple_path=True, layer=10, datatype=0))  # Metal2
vco_mux.add(gdstk.FlexPath([(12.8,7.76),(13.435,7.76)], 0.2, ends="flush", simple_path=True, layer=10, datatype=0))  # Metal2
vco_mux.add(gdstk.FlexPath([(11.405,7.76),(13.01,7.76)], 0.2, ends="flush", simple_path=True, layer=10, datatype=0))  # Metal2
vco_mux.add(gdstk.FlexPath([(11.395,8.58),(11.875,8.58),(11.875,8.07)], 0.2, ends="flush", simple_path=True, layer=10, datatype=0))  # Metal2
vco_mux.add(gdstk.FlexPath([(11.195,9.405),(12.38,9.405),(12.38,8.89)], 0.2, ends="flush", simple_path=True, layer=10, datatype=0))  # Metal2
vco_mux.add(gdstk.FlexPath([(11.235,7.35),(11.235,7.35)], 0.2, ends="flush", simple_path=True, layer=10, datatype=0))  # Metal2
vco_mux.add(gdstk.FlexPath([(11.46,7.35),(13.01,7.35)], 0.2, ends="flush", simple_path=True, layer=10, datatype=0))  # Metal2
vco_mux.add(gdstk.FlexPath([(11.03,8.58),(8.375,8.58)], 0.2, ends="flush", simple_path=True, layer=10, datatype=0))  # Metal2
vco_mux.add(gdstk.FlexPath([(11.07,7.76),(10.245,7.76),(10.245,8.27)], 0.2, ends="flush", simple_path=True, layer=10, datatype=0))  # Metal2
vco_mux.add(gdstk.FlexPath([(11.875,7.36),(11.875,6.475),(11.085,6.475)], 0.2, ends="flush", simple_path=True, layer=10, datatype=0))  # Metal2
vco_mux.add(gdstk.FlexPath([(11.095,6.475),(7.75,6.475)], 0.2, ends="flush", simple_path=True, layer=10, datatype=0))  # Metal2
vco_mux.add(gdstk.FlexPath([(8.37,4.1),(9.92,4.1)], 0.2, ends="flush", simple_path=True, layer=10, datatype=0))  # Metal2
vco_mux.add(gdstk.FlexPath([(8.145,4.1),(8.145,4.1)], 0.2, ends="flush", simple_path=True, layer=10, datatype=0))  # Metal2
vco_mux.add(gdstk.FlexPath([(8.105,2.045),(9.29,2.045),(9.29,2.56)], 0.2, ends="flush", simple_path=True, layer=10, datatype=0))  # Metal2
vco_mux.add(gdstk.FlexPath([(8.39,3.69),(8.785,3.69),(8.785,3.18)], 0.2, ends="flush", simple_path=True, layer=10, datatype=0))  # Metal2
vco_mux.add(gdstk.FlexPath([(12.8,3.69),(13.435,3.69)], 0.2, ends="flush", simple_path=True, layer=10, datatype=0))  # Metal2
vco_mux.add(gdstk.FlexPath([(11.405,3.69),(13.01,3.69)], 0.2, ends="flush", simple_path=True, layer=10, datatype=0))  # Metal2
vco_mux.add(gdstk.FlexPath([(11.395,2.87),(11.875,2.87),(11.875,3.38)], 0.2, ends="flush", simple_path=True, layer=10, datatype=0))  # Metal2
vco_mux.add(gdstk.FlexPath([(11.195,2.045),(12.38,2.045),(12.38,2.56)], 0.2, ends="flush", simple_path=True, layer=10, datatype=0))  # Metal2
vco_mux.add(gdstk.FlexPath([(11.235,4.1),(11.235,4.1)], 0.2, ends="flush", simple_path=True, layer=10, datatype=0))  # Metal2
vco_mux.add(gdstk.FlexPath([(11.46,4.1),(13.01,4.1)], 0.2, ends="flush", simple_path=True, layer=10, datatype=0))  # Metal2
vco_mux.add(gdstk.FlexPath([(11.03,2.87),(8.375,2.87)], 0.2, ends="flush", simple_path=True, layer=10, datatype=0))  # Metal2
vco_mux.add(gdstk.FlexPath([(11.07,3.69),(10.245,3.69),(10.245,3.18)], 0.2, ends="flush", simple_path=True, layer=10, datatype=0))  # Metal2
vco_mux.add(gdstk.FlexPath([(11.875,4.09),(11.875,4.975),(11.085,4.975)], 0.2, ends="flush", simple_path=True, layer=10, datatype=0))  # Metal2
vco_mux.add(gdstk.FlexPath([(11.095,4.975),(7.75,4.975)], 0.2, ends="flush", simple_path=True, layer=10, datatype=0))  # Metal2
vco_mux.add(gdstk.FlexPath([(6.625,0.835),(6.625,0.835)], 0.6, ends="flush", simple_path=True, layer=10, datatype=0))  # Metal2
vco_mux.add(gdstk.FlexPath([(6.625,10.225),(6.625,10.225)], 0.6, ends="flush", simple_path=True, layer=10, datatype=0))  # Metal2
vco_mux.add(gdstk.FlexPath([(14.135,5.67),(14.135,5.67)], 0.6, ends="flush", simple_path=True, layer=10, datatype=0))  # Metal2
vco_mux.add(gdstk.FlexPath([(9.71,-1.43),(9.71,-1.43)], 0.2, ends="flush", simple_path=True, layer=30, datatype=0))  # Metal3
vco_mux.add(gdstk.FlexPath([(9.23,-1.43),(7.825,-1.43)], 0.2, ends="flush", simple_path=True, layer=30, datatype=0))  # Metal3
vco_mux.add(gdstk.FlexPath([(13.055,-0.255),(13.055,-1.725)], 0.2, ends="flush", simple_path=True, layer=30, datatype=0))  # Metal3
vco_mux.add(gdstk.FlexPath([(8.89,-1.43),(9.71,-1.43)], 0.2, ends="flush", simple_path=True, layer=30, datatype=0))  # Metal3
vco_mux.add(gdstk.FlexPath([(13.06,3.69),(13.06,3.69)], 0.2, ends="flush", simple_path=True, layer=30, datatype=0))  # Metal3
vco_mux.add(gdstk.FlexPath([(13.06,7.76),(13.06,7.76)], 0.2, ends="flush", simple_path=True, layer=30, datatype=0))  # Metal3
vco_mux.add(gdstk.FlexPath([(13.055,-0.125),(13.055,8.17)], 0.2, ends="flush", simple_path=True, layer=30, datatype=0))  # Metal3
vco_mux.add(gdstk.FlexPath([(13.055,0.02),(13.055,-0.475)], 0.2, ends="flush", simple_path=True, layer=30, datatype=0))  # Metal3
vco_mux.add(gdstk.FlexPath([(6.625,10.225),(6.625,0.835)], 0.6, ends="flush", simple_path=True, layer=30, datatype=0))  # Metal3
vco_mux.add(gdstk.FlexPath([(14.135,5.67),(14.135,-3.665)], 0.6, ends="flush", simple_path=True, layer=30, datatype=0))  # Metal3
vco_mux.add(gdstk.Reference(via, (11.235,7.35)))
vco_mux.add(gdstk.Reference(passgate_scaled, (3.09,0)))
vco_mux.add(gdstk.Reference(inverter_dek, (20.76,0), rotation=pi, x_reflection=True))
vco_mux.add(gdstk.Reference(via, (8.145,7.35)))
vco_mux.add(gdstk.Reference(passgate_scaled, (0,0)))
vco_mux.add(gdstk.Reference(inverter_dek, (17.67,0), rotation=pi, x_reflection=True))
vco_mux.add(gdstk.Reference(via, (11.235,4.1), x_reflection=True))
vco_mux.add(gdstk.Reference(passgate_scaled, (3.09,11.45), x_reflection=True))
vco_mux.add(gdstk.Reference(inverter_dek, (20.76,11.45), rotation=pi))
vco_mux.add(gdstk.Reference(via, (8.145,4.1), x_reflection=True))
vco_mux.add(gdstk.Reference(passgate_scaled, (0,11.45), x_reflection=True))
vco_mux.add(gdstk.Reference(inverter_dek, (17.67,11.45), rotation=pi))
vco_mux.add(gdstk.Reference(inverter_dek, (17.67,-9.86), rotation=pi, x_reflection=True))
vco_mux.add(gdstk.Reference(via_14, (9.71,-1.43)))
vco_mux.add(gdstk.Reference(via, (8.145,-2.1)))
vco_mux.add(gdstk.Reference(via_14, (13.06,3.69)))
vco_mux.add(gdstk.Reference(via_14, (13.06,7.76)))
vco_mux.add(gdstk.Reference(via_16, (12.69,-1.625), rotation=pi))
vco_mux.add(gdstk.Reference(via_18, (6.625,0.835)))
vco_mux.add(gdstk.Reference(via_17, (6.625,0.835)))
vco_mux.add(gdstk.Reference(via_18, (6.625,10.225)))
vco_mux.add(gdstk.Reference(via_17, (6.625,10.225)))
vco_mux.add(gdstk.Reference(via_18, (14.135,-3.75)))
vco_mux.add(gdstk.Reference(via_17, (14.135,-3.75)))
vco_mux.add(gdstk.Reference(via_18, (14.135,5.67)))
vco_mux.add(gdstk.Reference(via_17, (14.135,5.67)))
vco_mux.add(gdstk.Reference(vco_passgate_mux, (0.255,-10.03)))
vco_mux.add(gdstk.Label('VCO_in', (7.85,-1.28), layer=10, texttype=25))
vco_mux.add(gdstk.Label('VCO4_sel', (7.85,7.35), layer=10, texttype=25))
vco_mux.add(gdstk.Label('VCO4_in', (7.85,7.76), layer=10, texttype=25))
vco_mux.add(gdstk.Label('VCO_sel', (7.85,-2.1), layer=10, texttype=25))
vco_mux.add(gdstk.Label('VCO3_sel', (7.85,6.475), layer=10, texttype=25))
vco_mux.add(gdstk.Label('VCO3_in', (7.85,8.58), layer=10, texttype=25))
vco_mux.add(gdstk.Label('VCO5_sel', (7.85,4.1), layer=10, texttype=25))
vco_mux.add(gdstk.Label('VCO5_in', (7.85,3.69), layer=10, texttype=25))
vco_mux.add(gdstk.Label('VCO2_sel', (7.85,4.975), layer=10, texttype=25))
vco_mux.add(gdstk.Label('VCO2_in', (7.85,2.87), layer=10, texttype=25))
vco_mux.add(gdstk.Label('out', (13.335,8.17), layer=10, texttype=25))
vco_mux.add(gdstk.Label('vp', (7.82,10.205), layer=8, texttype=25))
vco_mux.add(gdstk.Label('gd', (8.09,5.8), layer=8, texttype=25))

lib.write_gds('VCO_MUX.gds')
